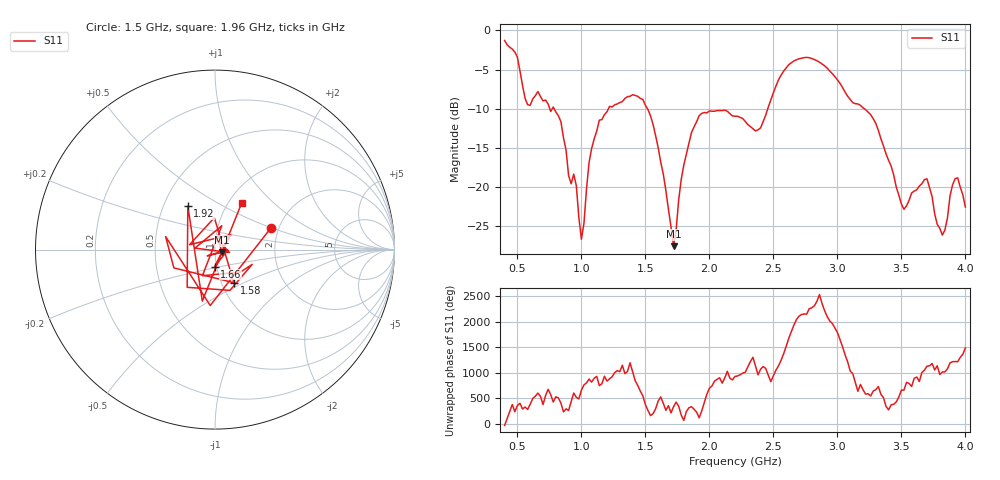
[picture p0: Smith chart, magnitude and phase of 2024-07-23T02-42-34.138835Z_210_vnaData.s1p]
!Created with skrf (http://scikit-rf.org).
# Hz S RI R 50.0
!freq ReS11 ImS11
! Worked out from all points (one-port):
!   181 points, 400 MHz to 4 GHz, reference 50 ohm
!   lowest |S11| = -27.6 dB at 1.72 GHz (marker M1), VSWR 1.09, Z = 54.1 - j1.58 ohm
!   |S11| at or under -10 dB: 787.2 MHz to 1.211 GHz (424 MHz wide, 42.4 % of centre); 1.516 GHz to 2.456 GHz (939.7 MHz wide, 47.3 % of centre); 3.21 GHz to end of sweep (the widest 3 of 4)
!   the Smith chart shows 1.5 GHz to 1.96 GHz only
!   S11 on the Smith chart (normalised r, x): 1.5 GHz: 1.82, +0.49; 1.58 GHz: 1.15, -0.44; 1.66 GHz: 0.98, -0.19; 1.92 GHz: 0.66, +0.35; 1.96 GHz: 1.15, +0.66
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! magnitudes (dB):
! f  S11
! 400 MHz  -1.3
! 500 MHz  -3.4
! 580 MHz  -9.5
! 660 MHz  -7.8
! 860 MHz  -13.7
! 960 MHz  -19.8
! 1 GHz  -26.7
! 1.06 GHz  -16.9
! 1.14 GHz  -11.5
! 1.3 GHz  -9.2
! 1.5 GHz  -9.6
! 1.58 GHz  -13.5
! 1.66 GHz  -20.5
! 1.72 GHz  -27.6
! 1.76 GHz  -21.7
! 1.92 GHz  -10.9
! 1.96 GHz  -10.5
! 2.2 GHz  -11.0
! 2.4 GHz  -12.4
! 2.66 GHz  -3.9
! 3.1 GHz  -8.8
! 3.28 GHz  -11.3
! 3.5 GHz  -22.2
! 3.56 GHz  -21.7
! 3.7 GHz  -19.0
! 3.82 GHz  -26.1
! 3.92 GHz  -18.9
! 4 GHz  -22.6
